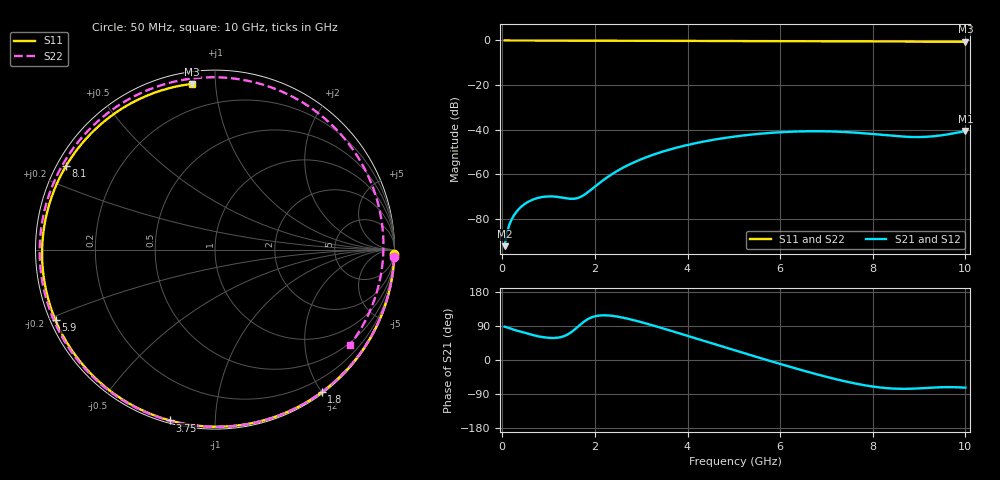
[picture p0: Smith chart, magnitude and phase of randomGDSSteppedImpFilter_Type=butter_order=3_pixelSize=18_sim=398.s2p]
! freq	dB(S11)	phase(S11)	dB(S12)	phase(S12)
!  dB(S21)	phase(S21)	dB(S22)	phase(S22)
!S-par simulation data
#  GHz  S  DB  R 50
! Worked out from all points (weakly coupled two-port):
!   200 points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, 50 MHz to 10 GHz, reference 50 ohm
!   highest |S21| = -40.60 dB at 10 GHz (marker M1); lowest = -92.2 dB at 50 MHz (marker M2)
!   lowest |S11| = -0.6 dB at 10 GHz (marker M3), VSWR 28.44, Z = 3.09 + j43.5 ohm
!   |S11| at or under -10 dB: nowhere
!   |S22| runs from -0.7 to 0.0 dB; largest |S21 - S12| = 0
!   S11 on the Smith chart (normalised r, x): 50 MHz: 0, -75; 1.8 GHz: 0.02, -2.00; 3.75 GHz: 0.01, -0.77; 5.9 GHz: 0.01, -0.21; 8.1 GHz: 0.03, +0.26; 10 GHz: 0.06, +0.87
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0.05  -0.00 -1.5  -92.18 88.0  -92.18 88.0  -0.00 -2.5
0.2  -0.01 -6.1  -80.23 82.1  -80.23 82.1  -0.01 -10.0
0.45  -0.02 -13.6  -73.81 72.7  -73.81 72.7  -0.03 -22.3
0.75  -0.03 -22.6  -70.67 63.3  -70.67 63.3  -0.05 -36.8
1.25  -0.05 -37.3  -70.26 60.0  -70.26 60.0  -0.07 -60.1
1.55  -0.06 -46.0  -70.92 79.2  -70.92 79.2  -0.09 -73.5
1.75  -0.06 -51.7  -69.42 100.0  -69.42 100.0  -0.10 -82.1
1.8  -0.07 -53.1  -68.74 104.3  -68.74 104.3  -0.10 -84.2
2.55  -0.09 -73.8  -57.67 113.1  -57.67 113.1  -0.13 -114.3
3.4  -0.12 -96.0  -50.22 85.9  -50.22 85.9  -0.16 -145.4
3.75  -0.14 -104.8  -48.11 73.1  -48.11 73.1  -0.17 -157.6
4.4  -0.16 -120.7  -45.10 48.7  -45.10 48.7  -0.20 -179.7
5.05  -0.20 -136.2  -42.97 24.4  -42.97 24.4  -0.24 158.2
5.9  -0.25 -156.1  -41.26 -6.8  -41.26 -6.8  -0.29 128.4
6.7  -0.31 -174.8  -40.67 -34.7  -40.67 -34.7  -0.34 98.7
7.4  -0.37 168.3  -41.02 -56.3  -41.02 -56.3  -0.39 71.1
8.1  -0.43 150.8  -42.12 -71.7  -42.12 -71.7  -0.44 42.2
8.35  -0.45 144.3  -42.59 -74.7  -42.59 -74.7  -0.46 31.8
8.75  -0.49 133.6  -43.18 -76.0  -43.18 -76.0  -0.50 15.1
9.15  -0.53 122.6  -43.17 -73.9  -43.17 -73.9  -0.56 -1.4
9.55  -0.57 111.2  -42.30 -71.6  -42.30 -71.6  -0.62 -17.6
10  -0.61 97.9  -40.60 -73.1  -40.60 -73.1  -0.72 -35.2
